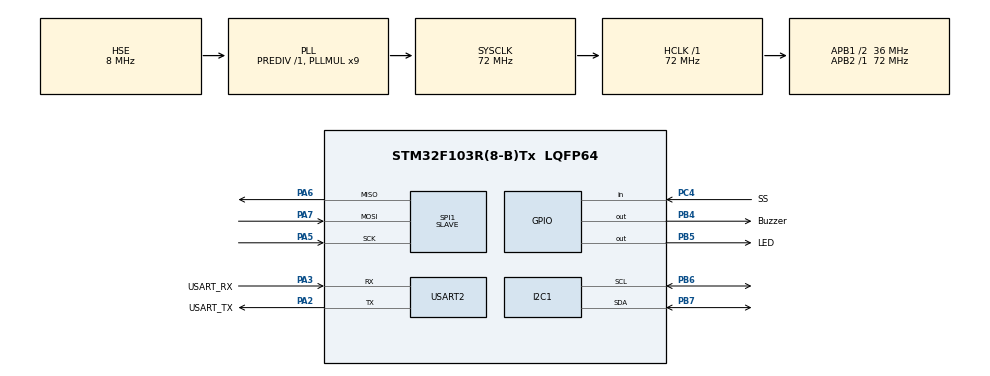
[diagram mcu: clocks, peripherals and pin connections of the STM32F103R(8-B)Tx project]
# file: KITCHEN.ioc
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FREERTOS.Tasks01=deaultTask,0,128,StartdefaultTask,Default,NULL,Dynamic,NULL,NULL
FREERTOS.configTIMER_TASK_PRIORITY=6
FREERTOS.configTOTAL_HEAP_SIZE=4096
FREERTOS.configUSE_NEWLIB_REENTRANT=1
FREERTOS.configUSE_TIMERS=1
Mcu.Family=STM32F1
Mcu.Name=STM32F103R(8-B)Tx
Mcu.Package=LQFP64
NVIC.PriorityGroup=NVIC_PRIORITYGROUP_4
NVIC.SPI1_IRQn=true\:5\:0\:false\:false\:true\:true\:true\:true\:true
NVIC.TIM2_IRQn=true\:15\:0\:false\:false\:true\:false\:false\:true\:true
NVIC.TimeBase=TIM2_IRQn
NVIC.TimeBaseIP=TIM2
PA13.GPIO_Label=TMS
PA13.Mode=Serial_Wire
PA13.Signal=SYS_JTMS-SWDIO
PA14.GPIO_Label=TCK
PA14.Mode=Serial_Wire
PA14.Signal=SYS_JTCK-SWCLK
PA2.GPIO_Label=USART_TX
PA2.GPIO_Mode=GPIO_MODE_AF_PP
PA2.GPIO_PuPd=GPIO_NOPULL
PA2.GPIO_Speed=GPIO_SPEED_FREQ_LOW
PA2.Mode=Asynchronous
PA2.Signal=USART2_TX
PA3.GPIO_Label=USART_RX
PA3.GPIO_Mode=GPIO_MODE_AF_PP
PA3.GPIO_PuPd=GPIO_NOPULL
PA3.GPIO_Speed=GPIO_SPEED_FREQ_LOW
PA3.Mode=Asynchronous
PA3.Signal=USART2_RX
PA5.Mode=Full_Duplex_Slave
PA5.Signal=SPI1_SCK
PA6.Mode=Full_Duplex_Slave
PA6.Signal=SPI1_MISO
PA7.Mode=Full_Duplex_Slave
PA7.Signal=SPI1_MOSI
PB3.GPIO_Label=SWO
PB3.Signal=SYS_JTDO-TRACESWO
PB4.GPIO_Label=Buzzer
PB4.GPIO_Speed=GPIO_SPEED_FREQ_HIGH
PB4.Signal=GPIO_Output
PB5.GPIO_Label=LED
PB5.GPIO_Speed=GPIO_SPEED_FREQ_HIGH
PB5.Signal=GPIO_Output
PB6.Mode=I2C
PB6.Signal=I2C1_SCL
PB7.Mode=I2C
PB7.Signal=I2C1_SDA
PC14-OSC32_IN.Mode=LSE-External-Oscillator
PC14-OSC32_IN.Signal=RCC_OSC32_IN
PC15-OSC32_OUT.Mode=LSE-External-Oscillator
PC15-OSC32_OUT.Signal=RCC_OSC32_OUT
PC4.GPIO_Label=SS
PC4.Signal=GPIO_Input
PD0-OSC_IN.Mode=HSE-External-Clock-Source
PD0-OSC_IN.Signal=RCC_OSC_IN
PD1-OSC_OUT.Mode=HSE-External-Clock-Source
PD1-OSC_OUT.Signal=RCC_OSC_OUT
ProjectManager.HeapSize=0x200
ProjectManager.StackSize=0x400
ProjectManager.TargetToolchain=STM32CubeIDE
RCC.AHBFreq_Value=72000000
RCC.APB1CLKDivider=RCC_HCLK_DIV2
RCC.APB1Freq_Value=36000000
RCC.APB1TimFreq_Value=72000000
RCC.APB2Freq_Value=72000000
RCC.APB2TimFreq_Value=72000000
RCC.HCLKFreq_Value=72000000
RCC.PLLMUL=RCC_PLL_MUL9
RCC.PLLSourceVirtual=RCC_PLLSOURCE_HSE
RCC.RTCClockSelection=RCC_RTCCLKSOURCE_LSE
RCC.SYSCLKFreq_VALUE=72000000
RCC.SYSCLKSource=RCC_SYSCLKSOURCE_PLLCLK
RCC.USBFreq_Value=72000000
SPI1.Direction=SPI_DIRECTION_2LINES
SPI1.Mode=SPI_MODE_SLAVE
SPI1.VirtualType=VM_SLAVE
USART2.VirtualMode=VM_ASYNC
VP_FREERTOS_VS_CMSIS_V1.Mode=CMSIS_V1
VP_SYS_VS_tim2.Mode=TIM2
board=NUCLEO-F103RB

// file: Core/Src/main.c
/* USER CODE BEGIN Header */
/**
  ******************************************************************************
  * @file           : main.c
  * @brief          : Main program body
  ******************************************************************************
  * @attention
  *
  * Copyright (c) 2024 STMicroelectronics.
  * All rights reserved.
  *
  * This software is licensed under terms that can be found in the LICENSE file
  * in the root directory of this software component.
  * If no LICENSE file comes with this software, it is provided AS-IS.
  *
  ******************************************************************************
  */
/* USER CODE END Header */
#include "main.h"
#include "cmsis_os.h"

/* USER CODE BEGIN Includes */
#include "FreeRTOS.h"
#include "task.h"
#include "timers.h"
#include "queue.h"
#include "semphr.h"
#include "event_groups.h"
#include "i2c_lcd.h"
#include "stuffManage.h"
/* USER CODE END Includes */

/* USER CODE BEGIN PTD */

enum cuisine {
	SmallBites = 31,
	AlmondWithCavior, //서브1
	SnowCrabAndPickledChrysanthemum, //서브1 대체1
	AblaloneTaco, //서브1 대체2
	HearthOvenGrilledHanwoo, //메인
	EmberToastedAcornNoodle, //메인 대체1
	BlackSesameSeaurchinNasturtium, //메인 대체2
	BurdockTarteTatinWithSkinJuice, //서브2
	TilefishMustardBrassica, //서브2 대체1
	fattyTuna, //서브2 대체2
	SmallSweets
} cuisine;

typedef struct {
	uint8_t courseData [5][2];
	uint8_t changeCourse [3];
} user_data;
/* USER CODE END PTD */

I2C_HandleTypeDef hi2c1;

SPI_HandleTypeDef hspi1;

UART_HandleTypeDef huart2;

/* USER CODE BEGIN PV */
TaskHandle_t copyHandler;
TaskHandle_t cookHandler;
TaskHandle_t lcdHandler;
TaskHandle_t buzzerHandler;

SemaphoreHandle_t spiSem;
SemaphoreHandle_t cookSem;
SemaphoreHandle_t lcdSem;

TimerHandle_t userTimerHandler;
/* USER CODE END PV */

void SystemClock_Config(void);
static void MX_GPIO_Init(void);
static void MX_SPI1_Init(void);
static void MX_USART2_UART_Init(void);
static void MX_I2C1_Init(void);
void StartdefaultTask(void const * argument);

/* USER CODE BEGIN PFP */
void dataInit(void);
void formatTime(uint8_t, char*);
uint8_t findMaxIndex(uint8_t arr[], uint8_t);
void updateUserTimer(TimerHandle_t);
void copyTask (void *argument);
void cookTask (void *argument);
void lcdTask (void *argument);
void buzzerTask (void *argument);
void UART_Print(const char *message);
/* USER CODE END PFP */

/* USER CODE BEGIN 0 */
user_data userData[4];
uint8_t rxBuffer[5];
volatile bool startSig = false;
uint8_t whatCourse = 0;
char timeStr1[6];
char timeStr2[6];
char timeStr3[6];
char timeStr4[6];
uint8_t arrCourseTime[4];
uint8_t arrCourseTime1[4];
uint8_t arrCourseTime2[4];
uint8_t arrCourseTime3[4];
uint8_t maxIndex;
uint8_t maxIndex1;
uint8_t maxIndex2;
uint8_t maxIndex3;
uint8_t remainingStuff[30];
volatile bool buzzerSig = false;
uint8_t resetCnt = 0;
volatile bool lcdState = false;
uint8_t txData = 0x30;
/* USER CODE END 0 */

int main(void)
{

  /* MCU Configuration--------------------------------------------------------*/

  /* Reset of all peripherals, Initializes the Flash interface and the Systick. */
  HAL_Init();

  /* Configure the system clock */
  SystemClock_Config();

  /* Initialize all configured peripherals */
  MX_GPIO_Init();
  MX_SPI1_Init();
  MX_USART2_UART_Init();
  MX_I2C1_Init();
  /* USER CODE BEGIN 2 */
  lcd_init();
  dataInit();
  HAL_SPI_Receive_IT(&hspi1, rxBuffer, sizeof(rxBuffer));
  /* USER CODE END 2 */

  /* USER CODE BEGIN RTOS_SEMAPHORES */
  /* add semaphores, ... */
  spiSem = xSemaphoreCreateBinary();
  cookSem = xSemaphoreCreateBinary();
  lcdSem = xSemaphoreCreateBinary();
  /* USER CODE END RTOS_SEMAPHORES */

  /* USER CODE BEGIN RTOS_TIMERS */
  /* start timers, add new ones, ... */
  userTimerHandler = xTimerCreate("userTimer", pdMS_TO_TICKS(1000), pdTRUE, NULL, updateUserTimer);
  /* USER CODE END RTOS_TIMERS */

  /* Create the thread(s) */
  /* definition and creation of deaultTask */

  /* USER CODE BEGIN RTOS_THREADS */
  xTaskCreate(copyTask, "spiTask", 128, NULL, 3, &copyHandler);
  xTaskCreate(cookTask, "cookTask", 128, NULL, 2, &cookHandler);
  xTaskCreate(lcdTask, "lcdTask", 128, NULL, 1, &lcdHandler);
  xTaskCreate(buzzerTask, "buzzerTask", 128, NULL, 1, &buzzerHandler);

  /* add threads, ... */
  /* USER CODE END RTOS_THREADS */

  /* Start scheduler */
  vTaskStartScheduler();

  /* We should never get here as control is now taken by the scheduler */

  /* Infinite loop */
  while (1)
  {

  }
}

void SystemClock_Config(void)
{
  RCC_OscInitTypeDef RCC_OscInitStruct = {0};
  RCC_ClkInitTypeDef RCC_ClkInitStruct = {0};

  /** Initializes the RCC Oscillators according to the specified parameters
  * in the RCC_OscInitTypeDef structure.
  */
  RCC_OscInitStruct.OscillatorType = RCC_OSCILLATORTYPE_HSE;
  RCC_OscInitStruct.HSEState = RCC_HSE_BYPASS;
  RCC_OscInitStruct.HSEPredivValue = RCC_HSE_PREDIV_DIV1;
  RCC_OscInitStruct.HSIState = RCC_HSI_ON;
  RCC_OscInitStruct.PLL.PLLState = RCC_PLL_ON;
  RCC_OscInitStruct.PLL.PLLSource = RCC_PLLSOURCE_HSE;
  RCC_OscInitStruct.PLL.PLLMUL = RCC_PLL_MUL9;
  if (HAL_RCC_OscConfig(&RCC_OscInitStruct) != HAL_OK)
  {
    Error_Handler();
  }

  /** Initializes the CPU, AHB and APB buses clocks
  */
  RCC_ClkInitStruct.ClockType = RCC_CLOCKTYPE_HCLK|RCC_CLOCKTYPE_SYSCLK
                              |RCC_CLOCKTYPE_PCLK1|RCC_CLOCKTYPE_PCLK2;
  RCC_ClkInitStruct.SYSCLKSource = RCC_SYSCLKSOURCE_PLLCLK;
  RCC_ClkInitStruct.AHBCLKDivider = RCC_SYSCLK_DIV1;
  RCC_ClkInitStruct.APB1CLKDivider = RCC_HCLK_DIV2;
  RCC_ClkInitStruct.APB2CLKDivider = RCC_HCLK_DIV1;

  if (HAL_RCC_ClockConfig(&RCC_ClkInitStruct, FLASH_LATENCY_2) != HAL_OK)
  {
    Error_Handler();
  }
}

static void MX_I2C1_Init(void)
{

  hi2c1.Instance = I2C1;
  hi2c1.Init.ClockSpeed = 100000;
  hi2c1.Init.DutyCycle = I2C_DUTYCYCLE_2;
  hi2c1.Init.OwnAddress1 = 0;
  hi2c1.Init.AddressingMode = I2C_ADDRESSINGMODE_7BIT;
  hi2c1.Init.DualAddressMode = I2C_DUALADDRESS_DISABLE;
  hi2c1.Init.OwnAddress2 = 0;
  hi2c1.Init.GeneralCallMode = I2C_GENERALCALL_DISABLE;
  hi2c1.Init.NoStretchMode = I2C_NOSTRETCH_DISABLE;
  if (HAL_I2C_Init(&hi2c1) != HAL_OK)
  {
    Error_Handler();
  }

}

static void MX_SPI1_Init(void)
{

  /* SPI1 parameter configuration*/
  hspi1.Instance = SPI1;
  hspi1.Init.Mode = SPI_MODE_SLAVE;
  hspi1.Init.Direction = SPI_DIRECTION_2LINES;
  hspi1.Init.DataSize = SPI_DATASIZE_8BIT;
  hspi1.Init.CLKPolarity = SPI_POLARITY_LOW;
  hspi1.Init.CLKPhase = SPI_PHASE_1EDGE;
  hspi1.Init.NSS = SPI_NSS_SOFT;
  hspi1.Init.FirstBit = SPI_FIRSTBIT_MSB;
  hspi1.Init.TIMode = SPI_TIMODE_DISABLE;
  hspi1.Init.CRCCalculation = SPI_CRCCALCULATION_DISABLE;
  hspi1.Init.CRCPolynomial = 10;
  if (HAL_SPI_Init(&hspi1) != HAL_OK)
  {
    Error_Handler();
  }

}

static void MX_USART2_UART_Init(void)
{

  huart2.Instance = USART2;
  huart2.Init.BaudRate = 115200;
  huart2.Init.WordLength = UART_WORDLENGTH_8B;
  huart2.Init.StopBits = UART_STOPBITS_1;
  huart2.Init.Parity = UART_PARITY_NONE;
  huart2.Init.Mode = UART_MODE_TX_RX;
  huart2.Init.HwFlowCtl = UART_HWCONTROL_NONE;
  huart2.Init.OverSampling = UART_OVERSAMPLING_16;
  if (HAL_UART_Init(&huart2) != HAL_OK)
  {
    Error_Handler();
  }

}

static void MX_GPIO_Init(void)
{
  GPIO_InitTypeDef GPIO_InitStruct = {0};

  /* GPIO Ports Clock Enable */
  __HAL_RCC_GPIOC_CLK_ENABLE();
  __HAL_RCC_GPIOD_CLK_ENABLE();
  __HAL_RCC_GPIOA_CLK_ENABLE();
  __HAL_RCC_GPIOB_CLK_ENABLE();

  /*Configure GPIO pin Output Level */
  HAL_GPIO_WritePin(GPIOB, Buzzer_Pin|LED_Pin, GPIO_PIN_RESET);

  /*Configure GPIO pin : SS_Pin */
  GPIO_InitStruct.Pin = SS_Pin;
  GPIO_InitStruct.Mode = GPIO_MODE_INPUT;
  GPIO_InitStruct.Pull = GPIO_NOPULL;
  HAL_GPIO_Init(SS_GPIO_Port, &GPIO_InitStruct);

  /*Configure GPIO pins : Buzzer_Pin LED_Pin */
  GPIO_InitStruct.Pin = Buzzer_Pin|LED_Pin;
  GPIO_InitStruct.Mode = GPIO_MODE_OUTPUT_PP;
  GPIO_InitStruct.Pull = GPIO_NOPULL;
  GPIO_InitStruct.Speed = GPIO_SPEED_FREQ_HIGH;
  HAL_GPIO_Init(GPIOB, &GPIO_InitStruct);

}

/* USER CODE BEGIN 4 */
void UART_Print(const char *message)
{
    HAL_UART_Transmit(&huart2, (uint8_t *)message, strlen(message), HAL_MAX_DELAY);
}

void dataInit()
{
	for (int i = 0; i < 4; i ++)
	{
		userData[i].courseData[0][0] = SmallBites;
		userData[i].courseData[0][1] = 5;
		userData[i].courseData[1][0] = AlmondWithCavior;
		userData[i].courseData[1][1] = 10;
		userData[i].courseData[2][0] = HearthOvenGrilledHanwoo;
		userData[i].courseData[2][1] = 15;
		userData[i].courseData[3][0] = BurdockTarteTatinWithSkinJuice;
		userData[i].courseData[3][1] = 10;
		userData[i].courseData[4][0] = SmallSweets;
		userData[i].courseData[4][1] = 15;
	}
	memset(remainingStuff, 50, sizeof(remainingStuff));
}

void updateUserTimer (TimerHandle_t xTimer)
{
	//UART_Print("Timer Start!\r\n");
	uint8_t temp = 0;
	lcd_clear();
	switch (whatCourse)
	{
	case 1 :
		//UART_Print("SUB1 Course Timer Start!\r\n");
		switch (maxIndex1)
		{
		case 0 :
			if (arrCourseTime1[maxIndex1] > 0)
			{
				temp = arrCourseTime1[maxIndex1];
				lcd_put_cur(0, 0);
				formatTime(arrCourseTime1[0], timeStr1);
				lcd_send_string(timeStr1);
				arrCourseTime1[maxIndex1] --;
			}
			if (temp <= arrCourseTime1[1] && arrCourseTime1[1] > 0)
			{
				lcd_put_cur(0, 8);
				formatTime(arrCourseTime1[1], timeStr2);
				lcd_send_string(timeStr2);
				arrCourseTime1[1] --;
			}
			if (temp <= arrCourseTime1[2] && arrCourseTime1[2] > 0)
			{
				lcd_put_cur(1, 0);
				formatTime(arrCourseTime1[2], timeStr3);
				lcd_send_string(timeStr3);
				arrCourseTime1[2] --;
			}
			if (temp <= arrCourseTime1[3] && arrCourseTime1[3] > 0)
			{
				lcd_put_cur(1, 8);
				formatTime(arrCourseTime1[3], timeStr4);
				lcd_send_string(timeStr4);
				arrCourseTime1[3] --;
			}
			break;
		case 1 :
			if (arrCourseTime1[maxIndex1] > 0)
			{
				temp = arrCourseTime1[maxIndex1];
				lcd_put_cur(0, 8);
				formatTime(arrCourseTime1[maxIndex1], timeStr2);
				lcd_send_string(timeStr2);
				arrCourseTime1[maxIndex1] --;
			}
			if (temp <= arrCourseTime1[0] && arrCourseTime1[0] > 0)
			{
				lcd_put_cur(0, 0);
				formatTime(arrCourseTime1[0], timeStr1);
				lcd_send_string(timeStr1);
				arrCourseTime1[0] --;
			}
			if (temp <= arrCourseTime1[2] && arrCourseTime1[2] > 0)
			{
				lcd_put_cur(1, 0);
				formatTime(arrCourseTime1[2], timeStr3);
				lcd_send_string(timeStr3);
				arrCourseTime1[2] --;
			}
			if (temp <= arrCourseTime1[3] && arrCourseTime1[3] > 0)
			{
				lcd_put_cur(1, 8);
				formatTime(arrCourseTime1[3], timeStr4);
				lcd_send_string(timeStr4);
				arrCourseTime1[3] --;
			}
			break;
		case 2 :
			if (arrCourseTime1[maxIndex1] > 0)
			{
				temp = arrCourseTime1[maxIndex1];
				lcd_put_cur(1, 0);
				formatTime(arrCourseTime1[2], timeStr3);
				lcd_send_string(timeStr3);
				arrCourseTime1[maxIndex1] --;
			}
			if (temp <= arrCourseTime1[0] && arrCourseTime1[0] > 0)
			{
				lcd_put_cur(0, 0);
				formatTime(arrCourseTime1[0], timeStr1);
				lcd_send_string(timeStr1);
				arrCourseTime1[0] --;
			}
			if (temp <= arrCourseTime1[1] && arrCourseTime1[1] > 0)
			{
				lcd_put_cur(0, 8);
				formatTime(arrCourseTime1[1], timeStr2);
				lcd_send_string(timeStr2);
				arrCourseTime1[1] --;
			}
			if (temp <= arrCourseTime1[3] && arrCourseTime1[3] > 0)
			{
				lcd_put_cur(1, 8);
				formatTime(arrCourseTime1[3], timeStr4);
				lcd_send_string(timeStr4);
				arrCourseTime1[3] --;
			}
			break;
		case 3 :
			if (arrCourseTime1[maxIndex1] > 0)
			{
				temp = arrCourseTime1[maxIndex1];
				lcd_put_cur(1, 8);
				formatTime(arrCourseTime1[maxIndex1], timeStr4);
				lcd_send_string(timeStr4);
				arrCourseTime1[maxIndex1] --;
			}
			if (temp <= arrCourseTime1[0] && arrCourseTime1[0] > 0)
			{
				lcd_put_cur(0, 0);
				formatTime(arrCourseTime1[0], timeStr1);
				lcd_send_string(timeStr1);
				arrCourseTime1[0] --;
			}
			if (temp <= arrCourseTime1[1] && arrCourseTime1[1] > 0)
			{
				lcd_put_cur(0, 8);
				formatTime(arrCourseTime1[1], timeStr2);
				lcd_send_string(timeStr2);
				arrCourseTime1[1] --;
			}
			if (temp <= arrCourseTime1[2] && arrCourseTime1[2] > 0)
			{
				lcd_put_cur(1, 0);
				formatTime(arrCourseTime1[2], timeStr3);
				lcd_send_string(timeStr3);
				arrCourseTime1[2] --;
			}
			break;
		}
		if (arrCourseTime1[0] == 0 && arrCourseTime1[1] == 0 && arrCourseTime1[2] == 0 && arrCourseTime1[3] == 0)
		{
			lcd_clear();
			lcd_send_string("Course Finish!");
			buzzerSig = true;
			xSemaphoreGive(lcdSem);
			//UART_Print("S/W Timer lcdSem Give!\r\n");
			xTimerStop(userTimerHandler, 0);
		}
		break;
	case 2 :
		//UART_Print("Main Course Timer Start!\r\n");
		switch (maxIndex2)
		{
		case 0 :
			if (arrCourseTime2[maxIndex2] > 0)
			{
				temp = arrCourseTime2[maxIndex2];
				lcd_put_cur(0, 0);
				formatTime(arrCourseTime2[maxIndex2], timeStr1);
				lcd_send_string(timeStr1);
				arrCourseTime2[maxIndex2] --;
			}
			if (temp <= arrCourseTime2[1] && arrCourseTime2[1] > 0)
			{
				lcd_put_cur(0, 8);
				formatTime(arrCourseTime2[1], timeStr2);
				lcd_send_string(timeStr2);
				arrCourseTime2[1] --;
			}
			if (temp <= arrCourseTime2[2] && arrCourseTime2[2] > 0)
			{
				lcd_put_cur(1, 0);
				formatTime(arrCourseTime2[2], timeStr3);
				lcd_send_string(timeStr3);
				arrCourseTime2[2] --;
			}
			if (temp <= arrCourseTime2[3] && arrCourseTime2[3] > 0)
			{
				lcd_put_cur(1, 8);
				formatTime(arrCourseTime2[3], timeStr4);
				lcd_send_string(timeStr4);
				arrCourseTime2[3] --;
			}
			break;
		case 1 :
			if (arrCourseTime2[maxIndex2] > 0)
			{
				temp = arrCourseTime2[maxIndex2];
				lcd_put_cur(0, 8);
				formatTime(arrCourseTime2[maxIndex2], timeStr2);
				lcd_send_string(timeStr2);
				arrCourseTime2[maxIndex2] --;
			}
			if (temp <= arrCourseTime2[0] && arrCourseTime2[0] > 0)
			{
				lcd_put_cur(0, 0);
				formatTime(arrCourseTime2[0], timeStr1);
				lcd_send_string(timeStr1);
				arrCourseTime2[0] --;
			}
			if (temp <= arrCourseTime2[2] && arrCourseTime2[2] > 0)
			{
				lcd_put_cur(1, 0);
				formatTime(arrCourseTime2[2], timeStr3);
				lcd_send_string(timeStr3);
				arrCourseTime2[2] --;
			}
			if (temp <= arrCourseTime2[3] && arrCourseTime2[3] > 0)
			{
				lcd_put_cur(1, 8);
				formatTime(arrCourseTime2[3], timeStr4);
				lcd_send_string(timeStr4);
				arrCourseTime2[3] --;
			}
			break;
		case 2 :
			if (arrCourseTime2[maxIndex2] > 0)
			{
				temp = arrCourseTime2[maxIndex2];
				lcd_put_cur(1, 0);
				formatTime(arrCourseTime2[maxIndex2], timeStr3);
				lcd_send_string(timeStr3);
				arrCourseTime2[maxIndex2] --;
			}
			if (temp <= arrCourseTime2[0] && arrCourseTime2[0] > 0)
			{
				lcd_put_cur(0, 0);
				formatTime(arrCourseTime2[0], timeStr1);
				lcd_send_string(timeStr1);
				arrCourseTime2[0] --;
			}
			if (temp <= arrCourseTime2[1] && arrCourseTime2[1] > 0)
			{
				lcd_put_cur(0, 8);
				formatTime(arrCourseTime2[1], timeStr2);
				lcd_send_string(timeStr2);
				arrCourseTime2[1] --;
			}
			if (temp <= arrCourseTime2[3] && arrCourseTime2[3] > 0)
			{
				lcd_put_cur(1, 8);
				formatTime(arrCourseTime2[3], timeStr4);
				lcd_send_string(timeStr4);
				arrCourseTime2[3] --;
			}
			break;
		case 3 :
			if (arrCourseTime2[maxIndex2] > 0)
			{
				temp = arrCourseTime2[maxIndex2];
				lcd_put_cur(1, 8);
				formatTime(arrCourseTime2[maxIndex2], timeStr4);
				lcd_send_string(timeStr4);
				arrCourseTime2[maxIndex2] --;
			}
			if (temp <= arrCourseTime2[0] && arrCourseTime2[0] > 0)
			{
				lcd_put_cur(0, 0);
				formatTime(arrCourseTime2[0], timeStr1);
				lcd_send_string(timeStr1);
				arrCourseTime2[0] --;
			}
			if (temp <= arrCourseTime2[1] && arrCourseTime2[1] > 0)
			{
				lcd_put_cur(0, 8);
				formatTime(arrCourseTime2[1], timeStr2);
				lcd_send_string(timeStr2);
				arrCourseTime2[1] --;
			}
			if (temp <= arrCourseTime2[2] && arrCourseTime2[2] > 0)
			{
				lcd_put_cur(1, 0);
				formatTime(arrCourseTime2[2], timeStr3);
				lcd_send_string(timeStr3);
				arrCourseTime2[2] --;
			}
			break;
		}
		if (arrCourseTime2[0] == 0 && arrCourseTime2[1] == 0 && arrCourseTime2[2] == 0 && arrCourseTime2[3] == 0)
		{
			lcd_clear();
			lcd_put_cur(0, 0);
			lcd_send_string("Course Finish!");
			buzzerSig = true;
			xSemaphoreGive(lcdSem);
			//UART_Print("S/W Timer lcdSem Give!\r\n");
			xTimerStop(userTimerHandler, 0);
		}
		break;
	case 3 :
		//UART_Print("SUB2 Course Timer Start!");
		switch (maxIndex3)
		{
		case 0 :
			if (arrCourseTime3[maxIndex3] > 0)
			{
				temp = arrCourseTime3[maxIndex3];
				lcd_put_cur(0, 0);
				formatTime(arrCourseTime3[maxIndex3], timeStr1);
				lcd_send_string(timeStr1);
				arrCourseTime3[maxIndex3] --;
			}
			if (temp <= arrCourseTime3[1] && arrCourseTime3[1] > 0)
			{
				lcd_put_cur(0, 8);
				formatTime(arrCourseTime3[1], timeStr2);
				lcd_send_string(timeStr2);
				arrCourseTime3[1] --;
			}
			if (temp <= arrCourseTime3[2] && arrCourseTime3[2] > 0)
			{
				lcd_put_cur(1, 0);
				formatTime(arrCourseTime3[2], timeStr3);
				lcd_send_string(timeStr3);
				arrCourseTime3[2] --;
			}
			if (temp <= arrCourseTime3[3] && arrCourseTime3[3] > 0)
			{
				lcd_put_cur(1, 8);
				formatTime(arrCourseTime3[3], timeStr4);
				lcd_send_string(timeStr4);
				arrCourseTime3[3] --;
			}
			break;
		case 1 :
			if (arrCourseTime3[maxIndex3] > 0)
			{
				temp = arrCourseTime3[maxIndex3];
				lcd_put_cur(0, 8);
				formatTime(arrCourseTime3[maxIndex3], timeStr2);
				lcd_send_string(timeStr2);
				arrCourseTime3[maxIndex3] --;
			}
			if (temp <= arrCourseTime3[0] && arrCourseTime3[0] > 0)
			{
				lcd_put_cur(0, 0);
				formatTime(arrCourseTime3[0], timeStr1);
				lcd_send_string(timeStr1);
				arrCourseTime3[0] --;
			}
			if (temp <= arrCourseTime3[2] && arrCourseTime3[2] > 0)
			{
				lcd_put_cur(1, 0);
				formatTime(arrCourseTime3[2], timeStr3);
				lcd_send_string(timeStr3);
				arrCourseTime3[2] --;
			}
			if (temp <= arrCourseTime3[3] && arrCourseTime3[3] > 0)
			{
				lcd_put_cur(1, 8);
				formatTime(arrCourseTime3[3], timeStr4);
				lcd_send_string(timeStr4);
				arrCourseTime3[3] --;
			}
			break;
		case 2 :
			if (arrCourseTime3[maxIndex3] > 0)
			{
				temp = arrCourseTime3[maxIndex3];
				lcd_put_cur(1, 0);
				formatTime(arrCourseTime3[maxIndex3], timeStr3);
				lcd_send_string(timeStr3);
				arrCourseTime3[maxIndex3] --;
			}
			if (temp <= arrCourseTime3[0] && arrCourseTime3[0] > 0)
			{
				lcd_put_cur(0, 0);
				formatTime(arrCourseTime3[0], timeStr1);
				lcd_send_string(timeStr1);
				arrCourseTime3[0] --;
			}
			if (temp <= arrCourseTime3[1] && arrCourseTime3[1] > 0)
			{
				lcd_put_cur(0, 8);
				formatTime(arrCourseTime3[1], timeStr2);
				lcd_send_string(timeStr2);
				arrCourseTime3[1] --;
			}
			if (temp <= arrCourseTime3[3] && arrCourseTime3[3] > 0)
			{
				lcd_put_cur(1, 8);
				formatTime(arrCourseTime3[3], timeStr4);
				lcd_send_string(timeStr4);
				arrCourseTime3[3] --;
			}
			break;
		case 3 :
			if (arrCourseTime3[maxIndex3] > 0)
			{
				temp = arrCourseTime3[maxIndex3];
				lcd_put_cur(1, 8);
				formatTime(arrCourseTime3[maxIndex3], timeStr4);
				lcd_send_string(timeStr4);
				arrCourseTime3[maxIndex3] --;
			}
			if (temp <= arrCourseTime3[0] && arrCourseTime3[0] > 0)
			{
				lcd_put_cur(0, 0);
				formatTime(arrCourseTime3[0], timeStr1);
				lcd_send_string(timeStr1);
				arrCourseTime3[0] --;
			}
			if (temp <= arrCourseTime3[1] && arrCourseTime3[1] > 0)
			{
				lcd_put_cur(0, 8);
				formatTime(arrCourseTime3[1], timeStr2);
				lcd_send_string(timeStr2);
				arrCourseTime3[1] --;
			}
			if (temp <= arrCourseTime3[2] && arrCourseTime3[2] > 0)
			{
				lcd_put_cur(1, 0);
				formatTime(arrCourseTime3[2], timeStr3);
				lcd_send_string(timeStr3);
				arrCourseTime3[2] --;
			}
			break;
		}
		if (arrCourseTime3[0] == 0 && arrCourseTime3[1] == 0 && arrCourseTime3[2] == 0 && arrCourseTime3[3] == 0)
		{
			lcd_clear();
			lcd_put_cur(0, 0);
			lcd_send_string("Course Finish!");
			buzzerSig = true;
			xSemaphoreGive(lcdSem);
			UART_Print("S/W Timer lcdSem Give!\r\n");
			xTimerStop(userTimerHandler, 0);
		}
		break;
	default :
		//UART_Print("Appetizer or Desert Course Timer Start!\r\n");
		lcd_clear();
		lcd_put_cur(0, 0);
		formatTime(arrCourseTime[0], timeStr1);
		lcd_send_string(timeStr1);
		lcd_put_cur(0, 8);
		formatTime(arrCourseTime[1], timeStr2);
		lcd_send_string(timeStr2);
		lcd_put_cur(1, 0);
		formatTime(arrCourseTime[2], timeStr3);
		lcd_send_string(timeStr3);
		lcd_put_cur(1, 8);
		formatTime(arrCourseTime[3], timeStr4);
		lcd_send_string(timeStr4);
		for (int i = 0; i < 4; i ++)
			arrCourseTime[i]--;
		if (arrCourseTime[0] == 0 && arrCourseTime[1] == 0 && arrCourseTime[2] == 0 && arrCourseTime[3] == 0)
		{
			lcd_clear();
			lcd_put_cur(0, 0);
			lcd_send_string("Course Finish!");
			buzzerSig = true;
			xSemaphoreGive(lcdSem);
			UART_Print("S/W Timer lcdSem Give!\r\n");
			xTimerStop(userTimerHandler, 0);
		}
		break;
	}
}

void formatTime(uint8_t time, char* str)
{
	uint8_t minutes = (time / 60);
	uint8_t seconds = (time / 1);
	sprintf(str, "%02d:%02d", minutes, seconds);
}

uint8_t findMaxIndex(uint8_t arr[], uint8_t size)
{
    uint8_t maxIndex = 0;
    for (int i = 1; i < size; i++)
    {
        if (arr[i] > arr[maxIndex])
            maxIndex = i;
    }
    return maxIndex;
}

void HAL_SPI_RxCpltCallback(SPI_HandleTypeDef *hspi)
{
	if (hspi -> Instance == SPI1)
	{
		startSig = true;
		lcdState = true;
		//UART_Print("SPI rxBuffer Received!\r\n");
		BaseType_t xHigherPriorityTaskWoken = pdFALSE;
		for (int i = 0; i < 5; i ++)
			rxBuffer[i] = rxBuffer[i] - '0';
		HAL_SPI_Receive_IT(&hspi1, rxBuffer, sizeof(rxBuffer));
		xSemaphoreGiveFromISR(spiSem, &xHigherPriorityTaskWoken);
		//UART_Print("SPI_ISR spiSem Give!\r\n");
		portYIELD_FROM_ISR(xHigherPriorityTaskWoken);
	}
}

void copyTask(void *argument)
{
	while(1)
	{
		// UART_Print("copyTask excution!\r\n");
		if(xSemaphoreTake(spiSem, portMAX_DELAY) == pdTRUE)
		{
			//UART_Print("copyTask spiSem Take!\r\n");
			memcpy(&whatCourse, &rxBuffer[0], sizeof(rxBuffer[0]));
			switch (whatCourse)
				{
				case 1 :
					for (int i = 0; i < 4; i ++)
						memcpy(&userData[i].changeCourse[0], &rxBuffer[i + 1], 1);
					break;
				case 2 :
					for (int i = 0; i < 4; i ++)
						memcpy(&userData[i].changeCourse[1], &rxBuffer[i + 1], 1);
					break;
				case 3 :
					for (int i = 0; i < 4; i ++)
						memcpy(&userData[i].changeCourse[2], &rxBuffer[i + 1], 1);
					break;
				}
			xSemaphoreGive(cookSem);
			//UART_Print("copyTask cookSem Give!\r\n");
		}
		vTaskDelay(500);
	}
}

void cookTask(void *argument)
{
	while(1)
	{
		if (startSig)
		{
			// UART_Print("cookTask (startSig == true)\r\n");
			if (xSemaphoreTake(cookSem, portMAX_DELAY) == pdTRUE)
			{
				switch (whatCourse)
				{
				case 0 :
					for (int i = 0; i < 6; i ++)
						remainingStuff[i] --;
					printRemainingStuff(Seaweed);
					printRemainingStuff(Potato);
					printRemainingStuff(SalmonRoe);
					printRemainingStuff(Deodeok);
					printRemainingStuff(Radish);
					printRemainingStuff(RedCabbage);
					xSemaphoreGive(lcdSem);
					//UART_Print("cookTask lcdSem Give(whatCourse == 0)!\r\n");
				break;
				case 1 :
					for (int i = 0; i < 4; i ++)
					{
						userData[i].courseData[1][0] += userData[i].changeCourse[0];
						if (userData[i].courseData[1][0] == AlmondWithCavior)
						{
							for (int j = 6; j < 10; j ++)
								remainingStuff[j] --;
						}
						else if (userData[i].courseData[1][0] == SnowCrabAndPickledChrysanthemum)
						{
							userData[i].courseData[1][1] += 2;
							for (int k = 10; k < 13; k ++)
								remainingStuff[k] --;
						}
						else if (userData[i].courseData[1][0] == AblaloneTaco)
						{
							userData[i].courseData[1][1] -= 2;
							remainingStuff[13] --;
						}
					}
					printRemainingStuff(Almond);
					printRemainingStuff(Cavior);
					printRemainingStuff(Tofu);
					printRemainingStuff(Egg);
					printRemainingStuff(Yuzu);
					printRemainingStuff(Snowcrab);
					printRemainingStuff(Beansprouts);
					printRemainingStuff(Ablalone);
					xSemaphoreGive(lcdSem);
					//UART_Print("cookTask lcdSem Give(whatCourse == 1)!\r\n");
					break;
				case 2 :
					for (int i = 0; i < 4; i ++)
					{
						userData[i].courseData[2][0] += userData[i].changeCourse[1];
						if (userData[i].courseData[2][0] == HearthOvenGrilledHanwoo)
						{
							for(int j = 14; j < 17; j ++)
								remainingStuff[j] --;
						}
						else if (userData[i].courseData[2][0] == EmberToastedAcornNoodle)
						{
							userData[i].courseData[2][1] -= 2;
							for (int k = 17; k < 20; k ++)
								remainingStuff[k] --;
						}
						else if (userData[i].courseData[2][0] == BlackSesameSeaurchinNasturtium)
						{
							userData[i].courseData[2][1] -= 2;
							remainingStuff[20] --;
						}
					}
					printRemainingStuff(KoreanBeef);
					printRemainingStuff(Apple);
					printRemainingStuff(Onion);
					printRemainingStuff(Acorn);
					printRemainingStuff(Truffle);
					printRemainingStuff(Noddle);
					printRemainingStuff(Sesame);
					xSemaphoreGive(lcdSem);
					//UART_Print("cookTask lcdSem Give(whatCourse == 2)!\r\n");
					break;
				case 3 :
					for (int i = 0; i < 4; i ++)
					{
						userData[i].courseData[3][0] += userData[i].changeCourse[2];
						if (userData[i].courseData[3][0] == BurdockTarteTatinWithSkinJuice)
							remainingStuff[21] --;
						else if (userData[i].courseData[3][0] == TilefishMustardBrassica)
						{
							userData[i].courseData[3][1] += 2;
							for (int j = 22; j < 25; j ++)
								remainingStuff[j] --;
						}
						else if (userData[i].courseData[3][0] == fattyTuna)
						{
							userData[i].courseData[3][1] -= 2;
							remainingStuff[25] --;
						}
					}
					printRemainingStuff(Burdock);
					printRemainingStuff(Tilefish);
					printRemainingStuff(Mustard);
					printRemainingStuff(Brassica);
					printRemainingStuff(Tuna);
					xSemaphoreGive(lcdSem);
					//UART_Print("cookTask lcdSem Give(whatCourse == 3)!\r\n");
					break;
				case 4 :
					for (int i = 26; i < 30; i ++)
						remainingStuff[i] --;
					printRemainingStuff(Tuna);
					printRemainingStuff(Hibiscus);
					printRemainingStuff(Peanut);
					printRemainingStuff(HoneyCookie);
					printRemainingStuff(Kombucha);
					xSemaphoreGive(lcdSem);
					//UART_Print("cookTask lcdSem Give(whatCourse == 4)!\r\n");
				break;
				}
			}
		}
		vTaskDelay(500);
	}
}

void lcdTask(void *argument)
{
	while(1)
	{
		if (!startSig)
		{
			lcd_clear();
			lcd_put_cur(0, 0);
			lcd_send_string("Seaweed");
			vTaskDelay(1000);
			lcd_clear();
			lcd_put_cur(0, 0);
			lcd_send_string("Potato");
			vTaskDelay(1000);
			lcd_clear();
			lcd_put_cur(0, 0);
			lcd_send_string("SalmonRoe");
			vTaskDelay(1000);
			lcd_clear();
			lcd_put_cur(0, 0);
			lcd_send_string("Deodeok");
			vTaskDelay(1000);
			lcd_clear();
			lcd_put_cur(0, 0);
			lcd_send_string("Radish");
			vTaskDelay(1000);
			lcd_put_cur(0, 0);
			lcd_send_string("RedCabbage");
			vTaskDelay(1000);
		}
		else
		{
			switch (whatCourse)
			{
			case 0 :
				if (xSemaphoreTake(lcdSem, portMAX_DELAY) == pdTRUE)
				{
					//UART_Print("lcdTask lcdSem Take(whatCourse == 0)!\r\n");
					if (lcdState)
					{
						for(int i = 0; i < 4; i ++)
							memcpy(&arrCourseTime[i], &userData[i].courseData[0][1], 1);
						maxIndex = findMaxIndex(arrCourseTime, 4);
						lcdState = false;
						xTimerStart(userTimerHandler, 0);
					}
					else
					{
						lcd_clear();
						lcd_put_cur(0, 0);
						lcd_send_string("Almond");
						lcd_put_cur(0, 8);
						lcd_send_string("Cavior");
						lcd_put_cur(1, 0);
						lcd_send_string("Tofu");
						lcd_put_cur(1, 8);
						lcd_send_string("Egg");
						vTaskDelay(1000);
						lcd_clear();
						lcd_put_cur(0, 0);
						lcd_send_string("Yuzu");
						lcd_put_cur(0, 8);
						lcd_send_string("Snowcrab");
						lcd_put_cur(1, 0);
						lcd_send_string("Beansprouts");
						vTaskDelay(1000);
						xSemaphoreGive(lcdSem);
						//UART_Print("lcdTask lcdSem Give (whatCourse == 0 && lcdState == false)!\r\n");
					}
				}
				break;
			case 1 :
				if (xSemaphoreTake(lcdSem, portMAX_DELAY) == pdTRUE)
				{
					//UART_Print("lcdTask lcdSem Take(whatCourse == 1)!\r\n");
					if (lcdState)
					{
						for(int i = 0; i < 4; i ++)
							memcpy(&arrCourseTime1[i], &userData[i].courseData[1][1], 1);
						maxIndex1 = findMaxIndex(arrCourseTime1, 4);
						lcdState = false;
						xTimerStart(userTimerHandler, 0);
					}
					else
					{
						lcd_clear();
						lcd_put_cur(0, 0);
						lcd_send_string("KoreanBeef");
						lcd_put_cur(1, 0);
						lcd_send_string("Apple");
						lcd_put_cur(1, 8);
						lcd_send_string("Onion");
						vTaskDelay(1000);
						lcd_clear();
						lcd_put_cur(0, 0);
						lcd_send_string("Acorn");
						lcd_put_cur(0, 8);
						lcd_send_string("Truffle");
						lcd_put_cur(1, 0);
						lcd_send_string("Noddle");
						vTaskDelay(1000);
						lcd_clear();
						lcd_put_cur(0, 0);
						lcd_send_string("Sesame");
						vTaskDelay(1000);
						xSemaphoreGive(lcdSem);
						//UART_Print("lcdTask lcdSem Give (whatCourse == 1 && lcdState == false)!\r\n");
					}
				}
				break;
			case 2 :
				if(xSemaphoreTake(lcdSem, portMAX_DELAY) == pdTRUE)
				{
					//UART_Print("lcdTask lcdSem Take(whatCourse == 2)!\r\n");
					if (lcdState)
					{
						for(int i = 0; i < 4; i ++)
							memcpy(&arrCourseTime2[i], &userData[i].courseData[2][1], 1);
						maxIndex2 = findMaxIndex(arrCourseTime2, 4);
						lcdState = false;
						xTimerStart(userTimerHandler, 0);
					}
					else
					{
						lcd_clear();
						lcd_put_cur(0, 0);
						lcd_send_string("Burdock");
						vTaskDelay(1000);
						lcd_clear();
						lcd_put_cur(0, 0);
						lcd_send_string("Tilefish");
						lcd_put_cur(0, 8);
						lcd_send_string("Mustard");
						lcd_put_cur(1, 0);
						lcd_send_string("Brassica");
						vTaskDelay(1000);
						lcd_clear();
						lcd_put_cur(0, 0);
						lcd_send_string("Tuna");
						vTaskDelay(1000);
						xSemaphoreGive(lcdSem);
						//UART_Print("lcdTask lcdSem Give (whatCourse == 2 && lcdState == false)!\r\n");
					}
				}
				break;
			case 3 :
				if(xSemaphoreTake(lcdSem, portMAX_DELAY) == pdTRUE)
				{
					//UART_Print("lcdTask lcdSem Take(whatCourse == 3)!\r\n");
					if (lcdState)
					{
						for(int i = 0; i < 4; i ++)
							memcpy(&arrCourseTime3[i], &userData[i].courseData[3][1], 1);
						maxIndex3 = findMaxIndex(arrCourseTime3, 4);
						lcdState = false;
						xTimerStart(userTimerHandler, 0);
					}
					else
					{
						lcd_clear();
						lcd_put_cur(0, 0);
						lcd_send_string("Hibiscus");
						lcd_put_cur(1, 0);
						lcd_send_string("Peanut");
						vTaskDelay(1000);
						lcd_clear();
						lcd_put_cur(0, 0);
						lcd_send_string("HoneyCookie");
						lcd_put_cur(1, 0);
						lcd_send_string("Kombucha");
						vTaskDelay(1000);
						xSemaphoreGive(lcdSem);
						//UART_Print("lcdTask lcdSem Give (whatCourse == 3 && lcdState == false)!\r\n");
					}
				}

				break;
			case 4 :
				if(xSemaphoreTake(lcdSem, portMAX_DELAY) == pdTRUE)
				{
					if (lcdState)
					{
						//UART_Print("lcdTask lcdSem Take(whatCourse == 4)!\r\n");
						for(int i = 0; i < 4; i ++)
							memcpy(&arrCourseTime[i], &userData[i].courseData[0][1], 1);
						maxIndex = findMaxIndex(arrCourseTime, 4);
						lcdState = false;
						xTimerStart(userTimerHandler, 0);
					}
				}
				break;
			}
		}
		vTaskDelay(500);
	}
}

void buzzerTask(void *argument)
{
	while(1)
	{
		// UART_Print("buzzerTask execution!\r\n");
		if (buzzerSig)
		{
			txData = 0x31;
			HAL_SPI_Transmit(&hspi1, &txData, sizeof(txData), HAL_MAX_DELAY);
			//UART_Print("SPI txData transmit to master!\r\n");
			HAL_GPIO_WritePin(Buzzer_GPIO_Port, Buzzer_Pin, GPIO_PIN_SET);
			HAL_GPIO_WritePin(LED_GPIO_Port, LED_Pin, GPIO_PIN_SET);
			vTaskDelay(500);
			HAL_GPIO_WritePin(Buzzer_GPIO_Port, Buzzer_Pin, GPIO_PIN_RESET);
			HAL_GPIO_WritePin(LED_GPIO_Port, LED_Pin, GPIO_PIN_RESET);
			vTaskDelay(500);
			HAL_GPIO_WritePin(LED_GPIO_Port, LED_Pin, GPIO_PIN_SET);
			vTaskDelay(500);
			HAL_GPIO_WritePin(LED_GPIO_Port, LED_Pin, GPIO_PIN_RESET);
			vTaskDelay(500);
			HAL_GPIO_WritePin(LED_GPIO_Port, LED_Pin, GPIO_PIN_SET);
			vTaskDelay(500);
			HAL_GPIO_WritePin(LED_GPIO_Port, LED_Pin, GPIO_PIN_RESET);
			vTaskDelay(500);
			txData = 0x30;
			if (whatCourse >= 4)
			{
				whatCourse = 0;
				startSig = false;
				dataInit();
			}
			buzzerSig = !buzzerSig;
		}
		vTaskDelay(500);
	}
}
/* USER CODE END 4 */

void HAL_TIM_PeriodElapsedCallback(TIM_HandleTypeDef *htim)
{
  if (htim->Instance == TIM2) {
    HAL_IncTick();
  }
}

void Error_Handler(void)
{
  __disable_irq();
  while (1)
  {
  }
}
